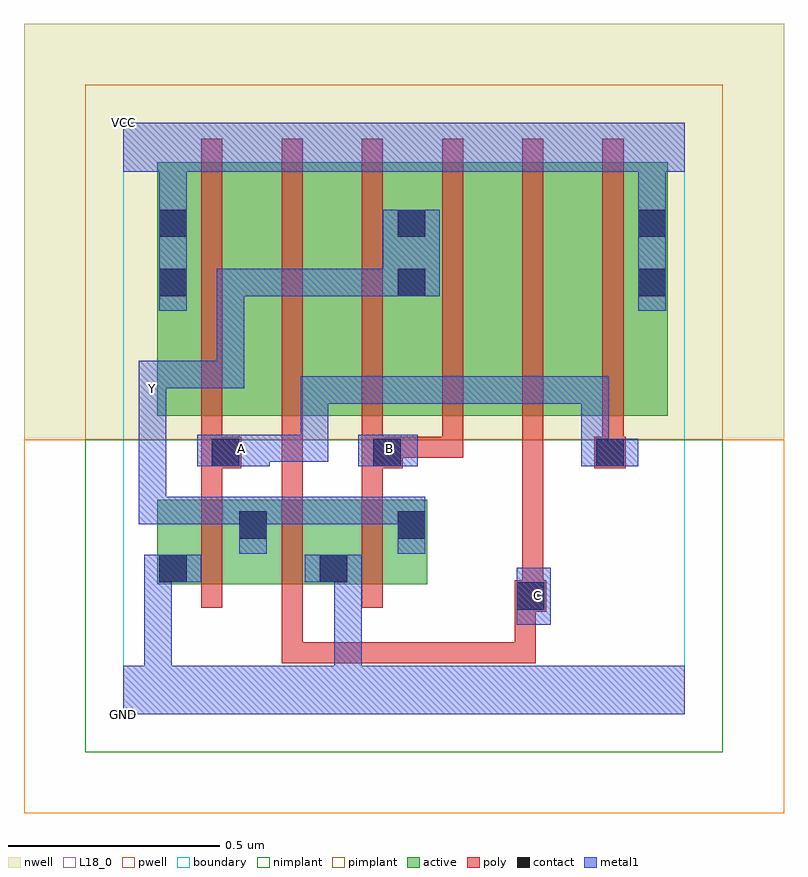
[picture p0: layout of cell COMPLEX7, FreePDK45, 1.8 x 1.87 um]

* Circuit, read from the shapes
.subckt COMPLEX7 A B C GND VCC Y
M1 Y A GND VSUBS nfet w=0.2u l=0.05u
M2 GND C Y VSUBS nfet w=0.2u l=0.05u
M3 Y B GND VSUBS nfet w=0.2u l=0.05u
M4 n1 A VCC n2 pfet w=0.6u l=0.05u
M5 n3 C n1 n2 pfet w=0.6u l=0.05u
M6 Y B n3 n2 pfet w=0.6u l=0.05u
M7 n4 B Y n2 pfet w=0.6u l=0.05u
M8 n5 C n4 n2 pfet w=0.6u l=0.05u
M9 VCC A n5 n2 pfet w=0.6u l=0.05u
.ends

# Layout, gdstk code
import gdstk
lib = gdstk.Library(unit=1e-6, precision=1e-09)
def R(c, l, rs):  # rectangles x0, y0, x1, y1
    for r in rs: c.add(gdstk.rectangle(r[:2], r[2:], *l))
def A(c, l, x, y, w, h, nx, ny, dx, dy):  # array of equal rectangles
    R(c, l, [(x+i*dx, y+j*dy, x+i*dx+w, y+j*dy+h) for i in range(nx) for j in range(ny)])
active = (1, 0)
pwell = (2, 0)
nwell = (3, 0)
nimplant = (4, 0)
pimplant = (5, 0)
poly = (9, 0)
contact = (10, 0)
metal1 = (11, 0)
L18_0 = (18, 0)
boundary = (235, 0)

complex7 = lib.new_cell('COMPLEX7')
R(complex7, active, [(0.08,0.307,0.345,0.507), (0.08,0.307,0.155,0.507), (0.27,0.307,0.535,0.507), (0.46,0.307,0.72,0.507), (0.46,0.307,0.535,0.397), (0.27,0.332,0.345,0.507), (0.645,0.332,0.72,0.507), (0.08,0.707,0.155,1.305), (0.08,0.707,0.305,1.307), (0.305,0.707,0.495,1.307), (0.495,0.707,0.72,1.307), (0.645,0.707,0.875,1.307), (0.645,0.707,0.72,1.2), (0.875,0.707,1.065,1.307), (1.065,0.707,1.29,1.307), (1.215,0.707,1.29,1.305)])
R(complex7, pwell, [(-0.235,-0.235,1.565,0.65)])
R(complex7, nwell, [(-0.235,0.65,1.565,1.635)])
R(complex7, nimplant, [(-0.09,-0.09,1.42,0.65)])
R(complex7, pimplant, [(-0.09,0.65,1.42,1.49)])
A(complex7, poly, 0.185, 0.252, 0.05, 0.31, 3, 1, 0.19, 0)
A(complex7, poly, 0.185, 0.652, 0.05, 0.71, 6, 1, 0.19, 0)
R(complex7, poly, [(0.375,0.12,0.425,0.17), (0.375,0.12,0.557,0.17), (0.375,0.12,0.425,0.302), (0.507,0.12,0.557,0.17), (0.507,0.12,0.557,0.17), (0.507,0.12,0.557,0.17), (0.507,0.12,0.845,0.17), (0.795,0.12,0.845,0.17), (0.795,0.12,0.845,0.17), (0.795,0.12,0.845,0.17), (0.795,0.12,0.977,0.17), (0.927,0.12,0.977,0.17), (0.927,0.12,0.977,0.17), (0.927,0.12,0.977,0.17), (0.927,0.12,0.977,0.292), (0.927,0.242,1.002,0.317), (0.927,0.242,0.977,0.292), (0.927,0.242,0.977,0.292), (0.927,0.242,0.977,0.292), (0.927,0.242,0.977,0.292), (0.945,0.267,0.995,0.702), (0.185,0.512,0.235,0.632), (0.375,0.512,0.425,0.607), (0.565,0.512,0.615,0.632), (0.375,0.557,0.425,0.607), (0.375,0.557,0.425,0.702), (0.185,0.582,0.28,0.657), (0.565,0.582,0.662,0.657), (1.115,0.582,1.19,0.657), (0.185,0.607,0.235,0.702), (0.565,0.607,0.615,0.702), (0.612,0.607,0.805,0.657), (0.755,0.607,0.805,0.702), (0.755,0.607,0.805,0.657), (0.755,0.607,0.805,0.657), (0.755,0.607,0.805,0.657), (1.135,0.607,1.185,0.702)])
R(complex7, contact, [(0.932,0.247,0.997,0.312), (0.085,0.312,0.15,0.377), (0.465,0.312,0.53,0.377), (0.275,0.415,0.34,0.48), (0.65,0.415,0.715,0.48), (0.21,0.587,0.275,0.652), (0.592,0.587,0.657,0.652), (1.12,0.587,1.185,0.652), (0.085,0.99,0.15,1.055), (0.65,0.99,0.715,1.055), (1.22,0.99,1.285,1.055), (0.085,1.13,0.15,1.195), (0.65,1.13,0.715,1.195), (1.22,1.13,1.285,1.195)])
R(complex7, metal1, [(0,0,1.33,0.115), (0.05,0.05,0.115,0.115), (0.05,0.05,0.115,0.115), (0.05,0.05,0.115,0.115), (0.05,0.05,0.115,0.115), (0.05,0.05,0.115,0.377), (0.5,0.05,0.565,0.115), (0.5,0.05,0.565,0.115), (0.5,0.05,0.565,0.115), (0.5,0.05,0.565,0.115), (0.5,0.05,0.565,0.377), (0.932,0.212,1.012,0.347), (0.05,0.312,0.185,0.377), (0.43,0.312,0.565,0.377), (0.275,0.38,0.34,0.515), (0.65,0.38,0.715,0.515), (0.037,0.45,0.102,0.515), (0.037,0.45,0.34,0.515), (0.037,0.45,0.102,0.767), (0.275,0.45,0.34,0.515), (0.275,0.45,0.34,0.515), (0.275,0.45,0.485,0.515), (0.42,0.45,0.485,0.515), (0.42,0.45,0.485,0.515), (0.42,0.45,0.485,0.515), (0.42,0.45,0.715,0.515), (0.65,0.45,0.715,0.515), (0.65,0.45,0.715,0.515), (0.175,0.587,0.347,0.662), (0.557,0.587,0.697,0.662), (1.085,0.587,1.15,0.652), (1.085,0.587,1.15,0.652), (1.085,0.587,1.22,0.652), (1.085,0.587,1.15,0.8), (0.282,0.597,0.347,0.662), (0.282,0.597,0.347,0.662), (0.282,0.597,0.485,0.662), (0.42,0.597,0.485,0.662), (0.42,0.597,0.485,0.662), (0.42,0.597,0.485,0.662), (0.42,0.597,0.485,0.8), (0.037,0.702,0.102,0.837), (0.42,0.735,0.485,0.8), (0.42,0.735,0.722,0.8), (0.657,0.735,0.722,0.8), (0.657,0.735,0.722,0.8), (0.657,0.735,0.722,0.8), (0.657,0.735,0.86,0.8), (0.795,0.735,0.86,0.8), (0.795,0.735,1.012,0.8), (0.947,0.735,1.012,0.8), (0.947,0.735,1.012,0.8), (0.947,0.735,1.012,0.8), (0.947,0.735,1.15,0.8), (1.085,0.735,1.15,0.8), (0.037,0.772,0.102,0.837), (0.037,0.772,0.102,0.837), (0.037,0.772,0.102,0.837), (0.037,0.772,0.102,0.837), (0.037,0.772,0.287,0.837), (0.222,0.772,0.287,0.837), (0.222,0.772,0.287,1.055), (0.085,0.955,0.15,1.23), (1.22,0.955,1.285,1.23), (0.222,0.99,0.287,1.055), (0.222,0.99,0.485,1.055), (0.42,0.99,0.485,1.055), (0.42,0.99,0.485,1.055), (0.42,0.99,0.485,1.055), (0.42,0.99,0.68,1.055), (0.615,0.99,0.68,1.055), (0.615,0.99,0.68,1.055), (0.615,0.99,0.75,1.195), (0.085,1.165,0.15,1.35), (1.22,1.165,1.285,1.35), (0,1.285,1.33,1.4)])
R(complex7, L18_0, [(0,0,1.33,0.115), (0.05,0.05,0.115,0.115), (0.05,0.05,0.115,0.115), (0.05,0.05,0.115,0.115), (0.05,0.05,0.115,0.115), (0.05,0.05,0.115,0.377), (0.5,0.05,0.565,0.115), (0.5,0.05,0.565,0.115), (0.5,0.05,0.565,0.115), (0.5,0.05,0.565,0.115), (0.5,0.05,0.565,0.377), (0.932,0.212,1.012,0.347), (0.947,0.247,1.012,0.312), (0.05,0.312,0.185,0.377), (0.43,0.312,0.565,0.377), (0.275,0.38,0.34,0.515), (0.65,0.38,0.715,0.515), (0.037,0.45,0.102,0.515), (0.037,0.45,0.102,0.767), (0.037,0.45,0.34,0.515), (0.275,0.45,0.34,0.515), (0.275,0.45,0.34,0.515), (0.275,0.45,0.485,0.515), (0.42,0.45,0.485,0.515), (0.42,0.45,0.485,0.515), (0.42,0.45,0.485,0.515), (0.42,0.45,0.715,0.515), (0.65,0.45,0.715,0.515), (0.65,0.45,0.715,0.515), (0.175,0.587,0.347,0.662), (0.557,0.587,0.697,0.662), (1.085,0.587,1.15,0.652), (1.085,0.587,1.15,0.652), (1.085,0.587,1.22,0.652), (1.085,0.587,1.15,0.8), (0.247,0.597,0.312,0.662), (0.282,0.597,0.347,0.662), (0.282,0.597,0.347,0.662), (0.282,0.597,0.485,0.662), (0.42,0.597,0.485,0.662), (0.42,0.597,0.485,0.662), (0.42,0.597,0.485,0.662), (0.42,0.597,0.485,0.8), (0.597,0.597,0.662,0.662), (0.037,0.702,0.102,0.837), (0.42,0.735,0.485,0.8), (0.42,0.735,0.722,0.8), (0.657,0.735,0.722,0.8), (0.657,0.735,0.722,0.8), (0.657,0.735,0.722,0.8), (0.657,0.735,0.86,0.8), (0.795,0.735,0.86,0.8), (0.795,0.735,1.012,0.8), (0.947,0.735,1.012,0.8), (0.947,0.735,1.012,0.8), (0.947,0.735,1.012,0.8), (0.947,0.735,1.15,0.8), (1.085,0.735,1.15,0.8), (0.037,0.737,0.102,0.802), (0.037,0.772,0.102,0.837), (0.037,0.772,0.102,0.837), (0.037,0.772,0.102,0.837), (0.037,0.772,0.102,0.837), (0.037,0.772,0.287,0.837), (0.222,0.772,0.287,0.837), (0.222,0.772,0.287,1.055), (0.085,0.955,0.15,1.23), (1.22,0.955,1.285,1.23), (0.222,0.99,0.287,1.055), (0.222,0.99,0.485,1.055), (0.42,0.99,0.485,1.055), (0.42,0.99,0.485,1.055), (0.42,0.99,0.485,1.055), (0.42,0.99,0.68,1.055), (0.615,0.99,0.68,1.055), (0.615,0.99,0.68,1.055), (0.615,0.99,0.75,1.195), (0.085,1.165,0.15,1.35), (1.22,1.165,1.285,1.35), (0,1.285,1.33,1.4)])
R(complex7, boundary, [(0,0,1.33,1.4)])
complex7.add(gdstk.Label('A', (0.28,0.63), layer=11, texttype=0))
complex7.add(gdstk.Label('B', (0.63,0.63), layer=11, texttype=0))
complex7.add(gdstk.Label('C', (0.98,0.28), layer=11, texttype=0))
complex7.add(gdstk.Label('Y', (0.07,0.77), layer=11, texttype=0))
complex7.add(gdstk.Label('VCC', (0,1.4), layer=11, texttype=0))
complex7.add(gdstk.Label('GND', (0,0), layer=11, texttype=0))

lib.write_gds('COMPLEX7.gds')
